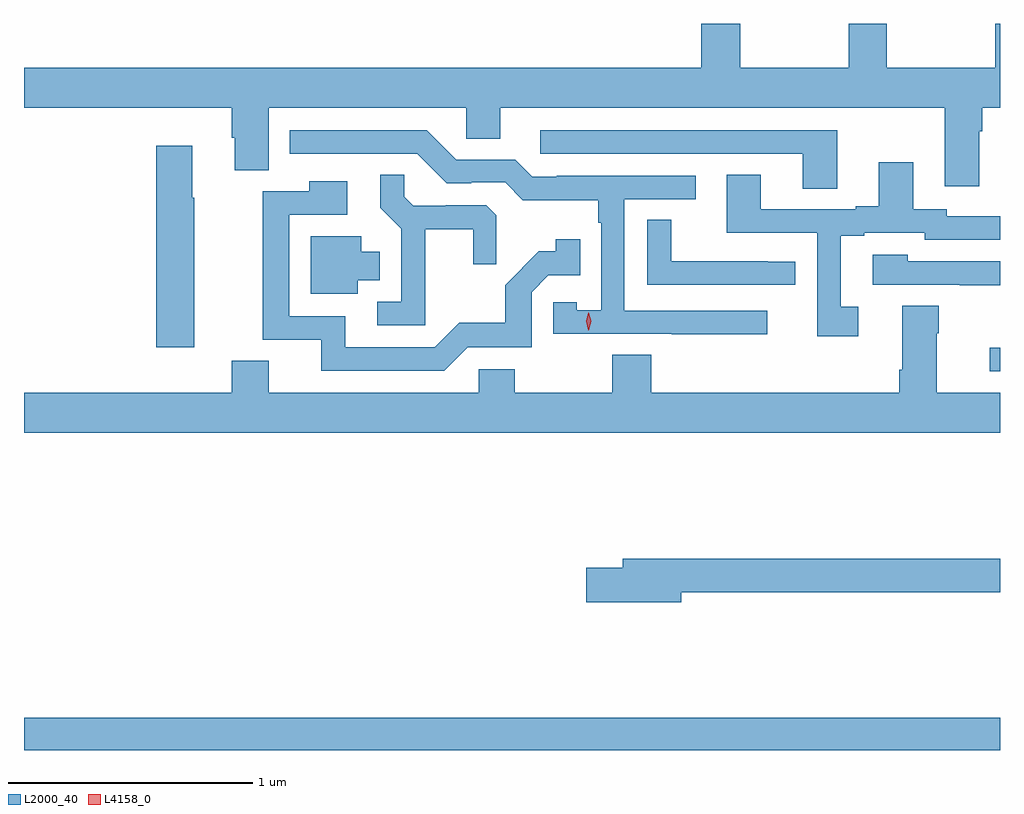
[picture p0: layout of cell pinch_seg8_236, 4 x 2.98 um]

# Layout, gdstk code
import gdstk
lib = gdstk.Library(unit=1e-6, precision=1e-09)
def R(c, l, rs):  # rectangles x0, y0, x1, y1
    for r in rs: c.add(gdstk.rectangle(r[:2], r[2:], *l))
def P(c, l, *ps):  # polygons
    for p in ps: c.add(gdstk.Polygon(p, *l))
L2000_40 = (2000, 40)
L4158_0 = (4158, 0)

pinch_seg8_236 = lib.new_cell('pinch_seg8_236')
R(pinch_seg8_236, L2000_40, [(635.225,1081.9,639.225,1082.032), (639.183,1083.453,639.225,1083.549)])
P(pinch_seg8_236, L2000_40, [(639.139,1084.436),(639.152,1084.436),(639.152,1084.532),(639.225,1084.532),(639.225,1084.877),(639.205,1084.877),(639.205,1084.696),(638.76,1084.696),(638.76,1084.877),(638.605,1084.877),(638.605,1084.696),(638.16,1084.696),(638.16,1084.877),(638,1084.877),(638,1084.696),(635.225,1084.696),(635.225,1084.532),(636.077,1084.532),(636.077,1084.41),(636.089,1084.41),(636.089,1084.276),(636.229,1084.276),(636.229,1084.532),(637.038,1084.532),(637.038,1084.405),(637.177,1084.405),(637.177,1084.532),(638.999,1084.532),(638.999,1084.212),(639.139,1084.212)],
  [(638.557,1084.44),(637.341,1084.44),(637.341,1084.344),(638.417,1084.344),(638.417,1084.201),(638.557,1084.201)],
  [(638.272,1083.702),(637.686,1083.702),(637.686,1084.158),(637.978,1084.158),(637.978,1084.254),(637.408,1084.254),(637.408,1084.251),(637.308,1084.251),(637.239,1084.32),(636.996,1084.32),(636.876,1084.44),(636.314,1084.44),(636.314,1084.344),(636.837,1084.344),(636.957,1084.224),(637.058,1084.224),(637.058,1084.227),(637.197,1084.227),(637.27,1084.154),(637.578,1084.154),(637.578,1084.061),(637.59,1084.061),(637.59,1083.703),(637.491,1083.703),(637.491,1083.735),(637.395,1083.735),(637.395,1083.606),(637.879,1083.606),(637.879,1083.604),(638.272,1083.604)],
  [(635.922,1084.165),(635.914,1084.165),(635.914,1084.378),(635.768,1084.378),(635.768,1083.552),(635.922,1083.552)],
  [(638.644,1083.717),(638.572,1083.717),(638.572,1084.008),(638.668,1084.008),(638.668,1084.02),(638.916,1084.02),(638.916,1083.993),(639.225,1083.993),(639.225,1084.089),(639.006,1084.089),(639.006,1084.116),(638.869,1084.116),(638.869,1084.309),(638.729,1084.309),(638.729,1084.129),(638.633,1084.129),(638.633,1084.116),(638.245,1084.116),(638.245,1084.259),(638.105,1084.259),(638.105,1084.02),(638.475,1084.02),(638.475,1083.597),(638.644,1083.597)],
  [(636.869,1084.034),(637.066,1084.034),(637.066,1083.891),(637.16,1083.891),(637.16,1084.093),(637.119,1084.134),(636.954,1084.134),(636.954,1084.131),(636.82,1084.131),(636.783,1084.168),(636.783,1084.259),(636.685,1084.259),(636.685,1084.123),(636.771,1084.037),(636.771,1083.738),(636.672,1083.738),(636.672,1083.642),(636.869,1083.642)],
  [(637.044,1083.552),(637.305,1083.552),(637.305,1083.777),(637.374,1083.846),(637.505,1083.846),(637.505,1083.994),(637.404,1083.994),(637.404,1083.944),(637.334,1083.944),(637.197,1083.806),(637.197,1083.651),(637.008,1083.651),(636.909,1083.552),(636.541,1083.552),(636.541,1083.678),(636.312,1083.678),(636.312,1084.095),(636.55,1084.095),(636.55,1084.231),(636.394,1084.231),(636.394,1084.191),(636.204,1084.191),(636.204,1083.582),(636.443,1083.582),(636.443,1083.456),(636.948,1083.456)],
  [(638.386,1083.902),(638.273,1083.902),(638.273,1083.903),(637.878,1083.903),(637.878,1084.073),(637.779,1084.073),(637.779,1083.807),(638.386,1083.807)],
  [(636.592,1083.827),(636.682,1083.827),(636.682,1083.943),(636.607,1083.943),(636.607,1084.006),(636.401,1084.006),(636.401,1083.77),(636.592,1083.77)],
  [(639.225,1083.903),(638.847,1083.903),(638.847,1083.931),(638.703,1083.931),(638.703,1083.807),(639.061,1083.807),(639.061,1083.805),(639.225,1083.805)],
  [(639.225,1083.364),(638.965,1083.364),(638.965,1083.608),(638.973,1083.608),(638.973,1083.721),(638.825,1083.721),(638.825,1083.46),(638.813,1083.46),(638.813,1083.364),(637.796,1083.364),(637.796,1083.521),(637.636,1083.521),(637.636,1083.364),(637.236,1083.364),(637.236,1083.462),(637.089,1083.462),(637.089,1083.364),(636.229,1083.364),(636.229,1083.497),(636.077,1083.497),(636.077,1083.364),(635.225,1083.364),(635.225,1083.2),(639.225,1083.2)],
  [(637.918,1082.548),(639.225,1082.548),(639.225,1082.684),(637.679,1082.684),(637.679,1082.648),(637.53,1082.648),(637.53,1082.506),(637.918,1082.506)])
P(pinch_seg8_236, L4158_0, [(637.538,1083.621),(637.529,1083.657),(637.538,1083.693),(637.539,1083.693),(637.539,1083.693),(637.549,1083.657),(637.539,1083.621),(637.539,1083.621)])

lib.write_gds('pinch_seg8_236.gds')
